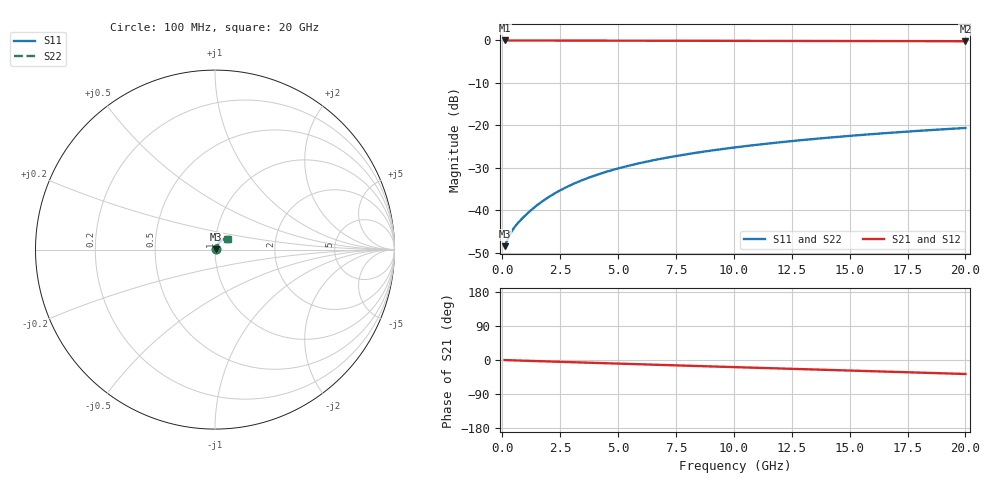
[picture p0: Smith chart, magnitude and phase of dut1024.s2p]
! Touchstone file exported from HFSS 2026.1.0
!  File:  C:/ffzhzh/LocalFiles/Ansys_Project_Files/temp_train_BSMRDL_1024_1783173500_51560.aedt
!  Generated:  09:59:24 PM Jul  4, 2026
!  Design:  BSMRDL
!  Project:  temp_train_BSMRDL_1024_1783173500_51560
! Variables:
!  h_bsmrdl = 4.49um
!  h_ox = 20um
!  h_rdl = 5um
!  h_sub = 80um
!  h_tmrdl = 5um
!  h_tsv = 80um
!  h_via = 3um
!  l_bsmrdl = 663.42um
!  l_sub = 1063.42um
!  l_tmrdl = 200um
!  m_sub = 200um
!  pitch = 20.94um
!  r_tsv = 6um
!  s_tmrdl = 10um
!  w_bsmrdl = 15.11um
!  w_sub = 500um
!  w_tmrdl = 12um
!  x_tsv_center1 = 206um
!  x_tsv_center2 = 884.53um
!  x_tsv_center3 = 1096.53um
!  x_tsv_center4 = 1775.06um
!  x_tsv_center5 = 1987.06um
!  x_tsv_center6 = 2665.59um
# GHz S MA R 50.000000
! Terminal data exported
! Port[1] = BSM_RDL1_1_T1
! Port[2] = BSM_RDL1_1_T2
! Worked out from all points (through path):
!   200 points, 100 MHz to 20 GHz, reference 50 ohm
!   highest |S21| = -0.03 dB at 100 MHz (marker M1); lowest = -0.2 dB at 20 GHz (marker M2)
!   group delay of S21, straight-line fit = 5.1 ps
!   lowest |S11| = -48.5 dB at 100 MHz (marker M3), VSWR 1.01, Z = 50.4 + j0.106 ohm
!   |S11| at or under -10 dB: start of sweep to end of sweep
!   |S22| runs from -48.5 to -20.6 dB; largest |S21 - S12| = 2.6e-15
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0.1  0.003779 16.2  0.9964 -0.2  0.9964 -0.2  0.003779 16.2
! Gamma 0 0 0 0
! Port Impedance 50 0 50 0
0.3  0.005023 33.0  0.9958 -0.6  0.9958 -0.6  0.00502 32.8
0.4  0.005628 37.0  0.9956 -0.8  0.9956 -0.8  0.005617 36.9
0.5  0.006181 40.1  0.9954 -1.0  0.9954 -1.0  0.006164 40.0
0.6  0.006702 42.8  0.9952 -1.2  0.9952 -1.2  0.00668 42.7
0.8  0.007713 47.4  0.995 -1.6  0.995 -1.6  0.007687 47.4
1  0.008737 51.2  0.9948 -2.0  0.9948 -2.0  0.00871 51.2
1.3  0.01033 55.6  0.9946 -2.5  0.9946 -2.5  0.01031 55.6
1.8  0.01313 60.2  0.9942 -3.5  0.9942 -3.5  0.01311 60.3
2.3  0.016 62.7  0.9938 -4.5  0.9938 -4.5  0.01599 62.8
2.9  0.01946 64.1  0.9931 -5.6  0.9931 -5.6  0.01945 64.2
3.5  0.02288 64.5  0.9924 -6.7  0.9924 -6.7  0.02287 64.6
4.2  0.02677 64.4  0.9916 -8.1  0.9916 -8.1  0.02676 64.4
5  0.03105 63.7  0.9906 -9.6  0.9906 -9.6  0.03105 63.7
5.9  0.03568 62.6  0.9894 -11.2  0.9894 -11.2  0.03567 62.7
6.8  0.04012 61.4  0.9883 -12.9  0.9883 -12.9  0.04011 61.4
8.3  0.04716 59.2  0.9866 -15.7  0.9866 -15.7  0.04714 59.3
10.1  0.05514 56.6  0.9847 -18.9  0.9847 -18.9  0.05511 56.7
11.7  0.0619 54.2  0.9831 -21.9  0.9831 -21.9  0.06187 54.3
13.4  0.06881 51.7  0.9815 -25.0  0.9815 -25.0  0.06876 51.8
16.7  0.08143 46.6  0.9787 -30.9  0.9787 -30.9  0.08137 46.8
20  0.09299 41.4  0.9762 -36.9  0.9762 -36.9  0.0929 41.7
